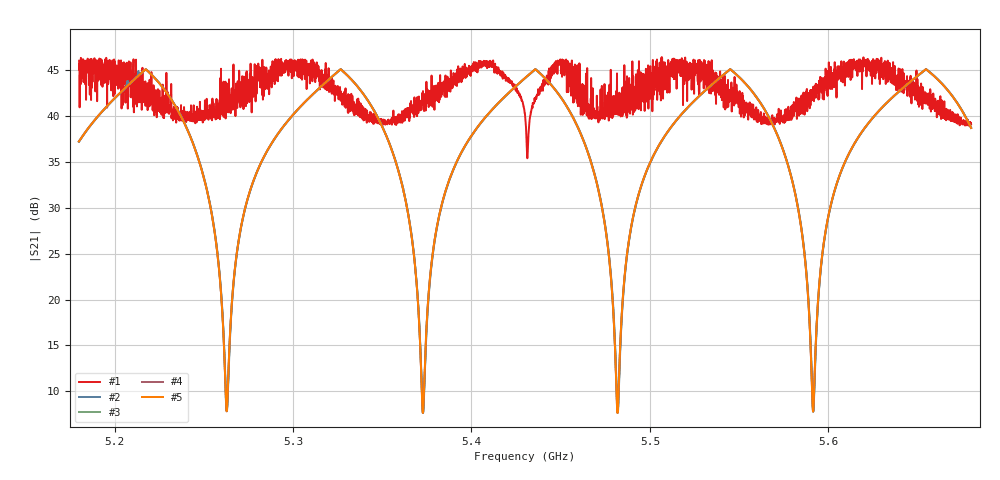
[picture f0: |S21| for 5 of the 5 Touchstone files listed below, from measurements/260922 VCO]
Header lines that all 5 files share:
# HZ S RI R 50
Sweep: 5.18 GHz to 5.68 GHz
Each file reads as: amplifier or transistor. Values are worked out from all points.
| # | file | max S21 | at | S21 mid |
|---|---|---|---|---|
| 1 | Cavity Transene - 300.000 261016 171845.s2p | 46.4 dB | 5.507 GHz | 40.1 dB at 5.43 GHz |
| 2 | Cavity Transene - 300.000 261016 173327.s2p | 45.1 dB | 5.218 GHz | 44.1 dB at 5.43 GHz |
| 3 | Cavity Transene Msr0 - 300.000 261016 173533.s2p | 45.1 dB | 5.545 GHz | 44.2 dB at 5.43 GHz |
| 4 | Cavity Transene Msr0 - 300.000 261016 173701.s2p | 45.1 dB | 5.217 GHz | 44.2 dB at 5.43 GHz |
| 5 | Cavity Transene Msr0 - 300.000 261016 173805.s2p | 45.1 dB | 5.655 GHz | 44.2 dB at 5.43 GHz |
